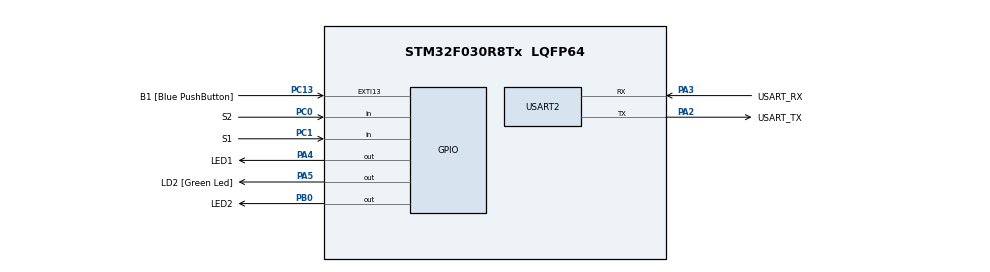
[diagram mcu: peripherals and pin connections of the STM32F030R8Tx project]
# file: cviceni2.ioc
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Mcu.Family=STM32F0
Mcu.Name=STM32F030R8Tx
Mcu.Package=LQFP64
PA13.GPIO_Label=TMS
PA13.Mode=Serial_Wire
PA13.Signal=SYS_SWDIO
PA14.GPIO_Label=TCK
PA14.Mode=Serial_Wire
PA14.Signal=SYS_SWCLK
PA2.GPIO_Label=USART_TX
PA2.GPIO_Mode=GPIO_MODE_AF_PP
PA2.GPIO_PuPd=GPIO_NOPULL
PA2.GPIO_Speed=GPIO_SPEED_FREQ_LOW
PA2.Mode=Asynchronous
PA2.Signal=USART2_TX
PA3.GPIO_Label=USART_RX
PA3.GPIO_Mode=GPIO_MODE_AF_PP
PA3.GPIO_PuPd=GPIO_NOPULL
PA3.GPIO_Speed=GPIO_SPEED_FREQ_LOW
PA3.Mode=Asynchronous
PA3.Signal=USART2_RX
PA4.GPIO_Label=LED1
PA4.Signal=GPIO_Output
PA5.GPIO_Label=LD2 [Green Led]
PA5.GPIO_Mode=GPIO_MODE_OUTPUT_PP
PA5.GPIO_PuPd=GPIO_NOPULL
PA5.GPIO_Speed=GPIO_SPEED_FREQ_LOW
PA5.Signal=GPIO_Output
PB0.GPIO_Label=LED2
PB0.Signal=GPIO_Output
PC0.GPIO_Label=S2
PC0.GPIO_PuPd=GPIO_PULLUP
PC0.Signal=GPIO_Input
PC1.GPIO_Label=S1
PC1.GPIO_PuPd=GPIO_PULLUP
PC1.Signal=GPIO_Input
PC13.GPIO_Label=B1 [Blue PushButton]
PC13.GPIO_ModeDefaultEXTI=GPIO_MODE_IT_FALLING
PC13.Signal=GPXTI13
PC14-OSC32_IN.Mode=LSE-External-Oscillator
PC14-OSC32_IN.Signal=RCC_OSC32_IN
PC15-OSC32_OUT.Mode=LSE-External-Oscillator
PC15-OSC32_OUT.Signal=RCC_OSC32_OUT
PF0-OSC_IN.Mode=HSE-External-Clock-Source
PF0-OSC_IN.Signal=RCC_OSC_IN
PF1-OSC_OUT.Signal=RCC_OSC_OUT
ProjectManager.HeapSize=0x200
ProjectManager.StackSize=0x400
ProjectManager.TargetToolchain=STM32CubeIDE
RCC.AHBFreq_Value=48000000
RCC.APB1Freq_Value=48000000
RCC.APB1TimFreq_Value=48000000
RCC.HCLKFreq_Value=48000000
RCC.PLLMUL=RCC_PLL_MUL12
RCC.SYSCLKFreq_VALUE=48000000
RCC.SYSCLKSource=RCC_SYSCLKSOURCE_PLLCLK
USART2.VirtualMode-Asynchronous=VM_ASYNC
board=NUCLEO-F030R8

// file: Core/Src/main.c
/* USER CODE BEGIN Header */
/**
  ******************************************************************************
  * @file           : main.c
  * @brief          : Main program body
  ******************************************************************************
  * @attention
  *
  * Copyright (c) 2023 STMicroelectronics.
  * All rights reserved.
  *
  * This software is licensed under terms that can be found in the LICENSE file
  * in the root directory of this software component.
  * If no LICENSE file comes with this software, it is provided AS-IS.
  *
  ******************************************************************************
  */
/* USER CODE END Header */
#include "main.h"

/* USER CODE BEGIN PD */
#define BUTTON_SAMPLE 40
/* USER CODE END PD */

/* USER CODE BEGIN PV */
volatile uint32_t Tick;
/* USER CODE END PV */

void SystemClock_Config(void);
static void MX_GPIO_Init(void);
static void MX_USART2_UART_Init(void);

/* USER CODE BEGIN 0 */

uint8_t debouncer_S1()
{
	static uint16_t debounce = 0xFFFF;
	static uint32_t counter;
	const uint16_t BUTTON_DEBOUNCER = 5;

	// every <BUTTON_DEBOUNCER> milliseconds -> shift register with btn input
	if (Tick > counter + BUTTON_DEBOUNCER)  {
		debounce <<= 1;
		if (GPIOC->IDR & (1<<1))  {
			debounce |= 0x0001;
		}
		counter = Tick;
	}

	return (debounce == 0x8000) ? 1 : 0;

}

void blikac()
{
	static uint32_t counter = 0;
	const uint32_t LED_TIME = 300;

	// LED1 periodic
	if (Tick > counter + LED_TIME)  {
		LL_GPIO_TogglePin(LED1_GPIO_Port, LED1_Pin);
		counter = Tick;
		}
}
void tlacitka()
{
	static uint16_t sample_delay;
	static enum {LED2_OFF, LED2_ON} LED2_STATE;
	static uint16_t LED_TIME_SHORT = 800;
	static uint16_t counter_S1 = 0;

	// if button S1 is clicked on (with debouncer), set LED2 ON
	if (debouncer_S1()) {
		if (LED2_STATE == LED2_OFF)  {
			LED2_STATE = LED2_ON;
			counter_S1 = Tick;
			LL_GPIO_SetOutputPin(LED2_GPIO_Port, LED2_Pin);
		}
	}

	// after given time, set LED2 off
	if (Tick > counter_S1 + LED_TIME_SHORT)  {
		LL_GPIO_ResetOutputPin(LED2_GPIO_Port, LED2_Pin);
		LED2_STATE = LED2_OFF;
	}

	// sample button S2 click every <BUTTOM SAMPLE> milliseconds
	if (Tick > sample_delay + BUTTON_SAMPLE)  {
		sample_delay = Tick;

		// states
		static uint8_t old_state_S2;
		uint8_t new_state_S2 = LL_GPIO_IsInputPinSet(S2_GPIO_Port, S2_Pin);

		// LED2 VARIABLES
		static enum {LED1_OFF, LED1_ON} LED1_STATE;
		static uint16_t LED_TIME_LONG = 1500;
		static uint16_t counter_S2 = 0;

		// falling edge S2
		if (old_state_S2 && !new_state_S2)  {
			if (LED1_STATE == LED1_OFF)  {
				LED1_STATE = LED1_ON;
				counter_S2 = Tick;
				LL_GPIO_SetOutputPin(LED1_GPIO_Port, LED1_Pin);
			}
		}

		// after given time, set LED1 off
		if (Tick > counter_S2 + LED_TIME_LONG) {
			LL_GPIO_ResetOutputPin(LED1_GPIO_Port, LED1_Pin);
			LED1_STATE = LED1_OFF;
		}

		old_state_S2 = new_state_S2;
	}
}

/* USER CODE END 0 */

int main(void)
{

  /* MCU Configuration--------------------------------------------------------*/

  /* Reset of all peripherals, Initializes the Flash interface and the Systick. */
  LL_APB1_GRP2_EnableClock(LL_APB1_GRP2_PERIPH_SYSCFG);
  LL_APB1_GRP1_EnableClock(LL_APB1_GRP1_PERIPH_PWR);

  /* Configure the system clock */
  SystemClock_Config();

  /* Initialize all configured peripherals */
  MX_GPIO_Init();
  MX_USART2_UART_Init();
  /* USER CODE BEGIN 2 */
  LL_SYSTICK_EnableIT();
  /* USER CODE END 2 */

  /* Infinite loop */
  while (1)
  {
	  //blikac();
	  tlacitka();
  }
}

void SystemClock_Config(void)
{
  LL_FLASH_SetLatency(LL_FLASH_LATENCY_1);
  while(LL_FLASH_GetLatency() != LL_FLASH_LATENCY_1)
  {
  }
  LL_RCC_HSI_Enable();

   /* Wait till HSI is ready */
  while(LL_RCC_HSI_IsReady() != 1)
  {

  }
  LL_RCC_HSI_SetCalibTrimming(16);
  LL_RCC_PLL_ConfigDomain_SYS(LL_RCC_PLLSOURCE_HSI_DIV_2, LL_RCC_PLL_MUL_12);
  LL_RCC_PLL_Enable();

   /* Wait till PLL is ready */
  while(LL_RCC_PLL_IsReady() != 1)
  {

  }
  LL_RCC_SetAHBPrescaler(LL_RCC_SYSCLK_DIV_1);
  LL_RCC_SetAPB1Prescaler(LL_RCC_APB1_DIV_1);
  LL_RCC_SetSysClkSource(LL_RCC_SYS_CLKSOURCE_PLL);

   /* Wait till System clock is ready */
  while(LL_RCC_GetSysClkSource() != LL_RCC_SYS_CLKSOURCE_STATUS_PLL)
  {

  }
  LL_Init1msTick(48000000);
  LL_SetSystemCoreClock(48000000);
}

static void MX_USART2_UART_Init(void)
{

  LL_USART_InitTypeDef USART_InitStruct = {0};

  LL_GPIO_InitTypeDef GPIO_InitStruct = {0};

  /* Peripheral clock enable */
  LL_APB1_GRP1_EnableClock(LL_APB1_GRP1_PERIPH_USART2);

  LL_AHB1_GRP1_EnableClock(LL_AHB1_GRP1_PERIPH_GPIOA);
  /**USART2 GPIO Configuration
  PA2   ------> USART2_TX
  PA3   ------> USART2_RX
  */
  GPIO_InitStruct.Pin = USART_TX_Pin;
  GPIO_InitStruct.Mode = LL_GPIO_MODE_ALTERNATE;
  GPIO_InitStruct.Speed = LL_GPIO_SPEED_FREQ_LOW;
  GPIO_InitStruct.OutputType = LL_GPIO_OUTPUT_PUSHPULL;
  GPIO_InitStruct.Pull = LL_GPIO_PULL_NO;
  GPIO_InitStruct.Alternate = LL_GPIO_AF_1;
  LL_GPIO_Init(USART_TX_GPIO_Port, &GPIO_InitStruct);

  GPIO_InitStruct.Pin = USART_RX_Pin;
  GPIO_InitStruct.Mode = LL_GPIO_MODE_ALTERNATE;
  GPIO_InitStruct.Speed = LL_GPIO_SPEED_FREQ_LOW;
  GPIO_InitStruct.OutputType = LL_GPIO_OUTPUT_PUSHPULL;
  GPIO_InitStruct.Pull = LL_GPIO_PULL_NO;
  GPIO_InitStruct.Alternate = LL_GPIO_AF_1;
  LL_GPIO_Init(USART_RX_GPIO_Port, &GPIO_InitStruct);

  USART_InitStruct.BaudRate = 38400;
  USART_InitStruct.DataWidth = LL_USART_DATAWIDTH_8B;
  USART_InitStruct.StopBits = LL_USART_STOPBITS_1;
  USART_InitStruct.Parity = LL_USART_PARITY_NONE;
  USART_InitStruct.TransferDirection = LL_USART_DIRECTION_TX_RX;
  USART_InitStruct.HardwareFlowControl = LL_USART_HWCONTROL_NONE;
  USART_InitStruct.OverSampling = LL_USART_OVERSAMPLING_16;
  LL_USART_Init(USART2, &USART_InitStruct);
  LL_USART_DisableIT_CTS(USART2);
  LL_USART_ConfigAsyncMode(USART2);
  LL_USART_Enable(USART2);

}

static void MX_GPIO_Init(void)
{
  LL_EXTI_InitTypeDef EXTI_InitStruct = {0};
  LL_GPIO_InitTypeDef GPIO_InitStruct = {0};

  /* GPIO Ports Clock Enable */
  LL_AHB1_GRP1_EnableClock(LL_AHB1_GRP1_PERIPH_GPIOC);
  LL_AHB1_GRP1_EnableClock(LL_AHB1_GRP1_PERIPH_GPIOF);
  LL_AHB1_GRP1_EnableClock(LL_AHB1_GRP1_PERIPH_GPIOA);
  LL_AHB1_GRP1_EnableClock(LL_AHB1_GRP1_PERIPH_GPIOB);

  /**/
  LL_GPIO_ResetOutputPin(LED1_GPIO_Port, LED1_Pin);

  /**/
  LL_GPIO_ResetOutputPin(LD2_GPIO_Port, LD2_Pin);

  /**/
  LL_GPIO_ResetOutputPin(LED2_GPIO_Port, LED2_Pin);

  /**/
  LL_SYSCFG_SetEXTISource(LL_SYSCFG_EXTI_PORTC, LL_SYSCFG_EXTI_LINE13);

  /**/
  LL_GPIO_SetPinPull(B1_GPIO_Port, B1_Pin, LL_GPIO_PULL_NO);

  /**/
  LL_GPIO_SetPinMode(B1_GPIO_Port, B1_Pin, LL_GPIO_MODE_INPUT);

  /**/
  EXTI_InitStruct.Line_0_31 = LL_EXTI_LINE_13;
  EXTI_InitStruct.LineCommand = ENABLE;
  EXTI_InitStruct.Mode = LL_EXTI_MODE_IT;
  EXTI_InitStruct.Trigger = LL_EXTI_TRIGGER_FALLING;
  LL_EXTI_Init(&EXTI_InitStruct);

  /**/
  GPIO_InitStruct.Pin = S2_Pin;
  GPIO_InitStruct.Mode = LL_GPIO_MODE_INPUT;
  GPIO_InitStruct.Pull = LL_GPIO_PULL_UP;
  LL_GPIO_Init(S2_GPIO_Port, &GPIO_InitStruct);

  /**/
  GPIO_InitStruct.Pin = S1_Pin;
  GPIO_InitStruct.Mode = LL_GPIO_MODE_INPUT;
  GPIO_InitStruct.Pull = LL_GPIO_PULL_UP;
  LL_GPIO_Init(S1_GPIO_Port, &GPIO_InitStruct);

  /**/
  GPIO_InitStruct.Pin = LED1_Pin;
  GPIO_InitStruct.Mode = LL_GPIO_MODE_OUTPUT;
  GPIO_InitStruct.Speed = LL_GPIO_SPEED_FREQ_LOW;
  GPIO_InitStruct.OutputType = LL_GPIO_OUTPUT_PUSHPULL;
  GPIO_InitStruct.Pull = LL_GPIO_PULL_NO;
  LL_GPIO_Init(LED1_GPIO_Port, &GPIO_InitStruct);

  /**/
  GPIO_InitStruct.Pin = LD2_Pin;
  GPIO_InitStruct.Mode = LL_GPIO_MODE_OUTPUT;
  GPIO_InitStruct.Speed = LL_GPIO_SPEED_FREQ_LOW;
  GPIO_InitStruct.OutputType = LL_GPIO_OUTPUT_PUSHPULL;
  GPIO_InitStruct.Pull = LL_GPIO_PULL_NO;
  LL_GPIO_Init(LD2_GPIO_Port, &GPIO_InitStruct);

  /**/
  GPIO_InitStruct.Pin = LED2_Pin;
  GPIO_InitStruct.Mode = LL_GPIO_MODE_OUTPUT;
  GPIO_InitStruct.Speed = LL_GPIO_SPEED_FREQ_LOW;
  GPIO_InitStruct.OutputType = LL_GPIO_OUTPUT_PUSHPULL;
  GPIO_InitStruct.Pull = LL_GPIO_PULL_NO;
  LL_GPIO_Init(LED2_GPIO_Port, &GPIO_InitStruct);

}

void Error_Handler(void)
{
  __disable_irq();
  while (1)
  {
  }
}
